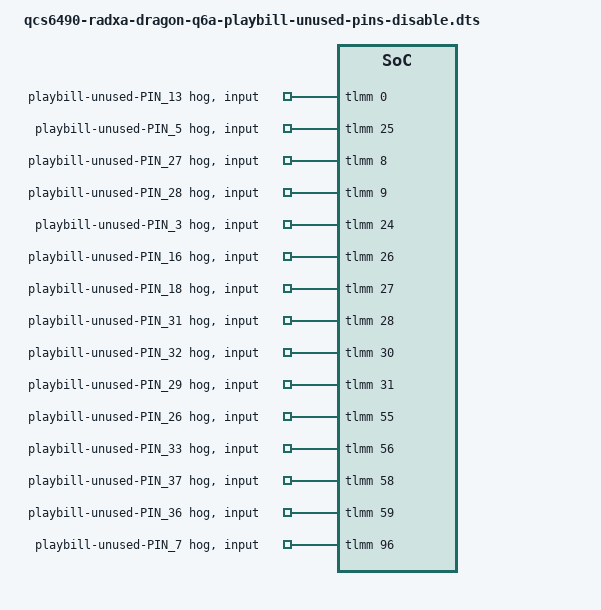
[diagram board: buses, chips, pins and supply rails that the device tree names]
// SPDX-License-Identifier: BSD-3-Clause
//
// Playbill Q6A — disable all 40-pin header GPIOs we don't use.
//
// Defense-in-depth against EMI / floating-pin issues like the one that
// caused the early-boot menu trap on UART RX (gpio23 / header pin 10).
// The Playbill image binds the Waveshare RS485 CAN HAT-B and the QCM6490
// debug UART; everything else on the 40-pin header is unused. Without an
// explicit owner, those unused pins sit in their reset state — typically
// GPIO+input with no bias — which leaves them exposed to capacitive
// coupling from adjacent active lines (the SPI clocks on gpio48-51 switch
// at MHz rates and sit right next to half the unused header pins).
//
// This overlay claims each unused header pin via a `gpio-hog` node:
//   * locks the kernel pinmux so no future driver can rebind these pins
//     to a peripheral function (UART, I2C, SPI, PWM, etc.)
//   * configures each as a GPIO input
//   * gives each a stable kernel-visible line-name for diagnostics
//
// Pins NOT included (deliberately left alone):
//   gpio22 (PIN_8 UART_TX) and gpio23 (PIN_10 UART_RX) — these are the
//   debug UART (ttyMSM0). The kernel keeps them muxed as UART for console
//   I/O. The phantom-input issue on gpio23 is mitigated upstream of the
//   kernel by patching UEFI BootAskValid + ConIn (see
//   files/scripts/playbill-firstboot.sh §1b), so we do not need to
//   wrest these pins from the UART driver.
//
//   HAT-used GPIOs (gpio29, 48, 49, 50, 51, 57, 97, 98, 99, 100) — owned
//   by the MCP2515 / SPI12 / SC16IS752 bindings in the OS DT and the CAN
//   overlay; touching them here would conflict.
//
//   gpio1 (PIN_15) — owned by the playbill-ir-recv overlay (gpio-ir-receiver
//   on the 40-pin header, PIN_15 signal + PIN_1 3V3 + PIN_9 GND).
//
//   gpio24 (PIN_3) — left HOGGED here even though it is unused for I/O, to
//   prevent any future driver from rebinding I2C7_SDA. Do NOT move the IR
//   signal back to gpio24: the pre-kernel firmware probes I2C7 for HAT-EEPROM
//   and hangs the boot if SDA is held by a non-I2C device. (Confirmed
//   empirically 2026-05-13: PIN_3 hung boot.)
//
//   gpio25 (PIN_5) — also left HOGGED here, even though we briefly used it
//   for the IR signal. Empirically the IR was unreliable on PIN_5 (decoder
//   drops frames after a few presses) because the pad's primary alt-function
//   is I2C7_SCL and the muxed-out state interacts badly with bias settings.
//   IR moved to PIN_15 (gpio1) 2026-05-14.
//
// Header→GPIO mapping (from /sys/firmware/devicetree/base/.../gpio-line-names
// at runtime — gpio-line-names property of the tlmm pinctrl node):
//   gpio0  → PIN_13       gpio26 → PIN_16       gpio55 → PIN_26
//   gpio24 → PIN_3        gpio27 → PIN_18       gpio56 → PIN_33
//   gpio8  → PIN_27       gpio28 → PIN_31       gpio58 → PIN_37
//   gpio9  → PIN_28       gpio30 → PIN_32       gpio59 → PIN_36
//   gpio25 → PIN_5        gpio31 → PIN_29       gpio96 → PIN_7
//
// All 15 of those are claimed by gpio-hog entries below.

/dts-v1/;
/plugin/;

/ {
	metadata {
		title = "Disable unused 40-pin header GPIOs (Playbill Q6A)";
		compatible = "radxa,dragon-q6a";
		category = "misc";
		exclusive = "gpio0", "gpio8", "gpio9",
			    "gpio24", "gpio25", "gpio26",
			    "gpio27", "gpio28", "gpio30",
			    "gpio31", "gpio55", "gpio56",
			    "gpio58", "gpio59", "gpio96";
		description = "Lock unused 40-pin header GPIOs as kernel-claimed input pins so no
peripheral driver can rebind them and so they're explicitly owned in
the kernel's pinmux state. Playbill defense-in-depth against
floating-pin EMI issues.";
	};
};

&tlmm {
	playbill-unused-pin13 {
		gpio-hog;
		gpios = <0 0>;
		input;
		line-name = "playbill-unused-PIN_13";
	};

	playbill-unused-pin5 {
		gpio-hog;
		gpios = <25 0>;
		input;
		line-name = "playbill-unused-PIN_5";
	};

	playbill-unused-pin27 {
		gpio-hog;
		gpios = <8 0>;
		input;
		line-name = "playbill-unused-PIN_27";
	};

	playbill-unused-pin28 {
		gpio-hog;
		gpios = <9 0>;
		input;
		line-name = "playbill-unused-PIN_28";
	};

	playbill-unused-pin3 {
		gpio-hog;
		gpios = <24 0>;
		input;
		line-name = "playbill-unused-PIN_3";
	};

	playbill-unused-pin16 {
		gpio-hog;
		gpios = <26 0>;
		input;
		line-name = "playbill-unused-PIN_16";
	};

	playbill-unused-pin18 {
		gpio-hog;
		gpios = <27 0>;
		input;
		line-name = "playbill-unused-PIN_18";
	};

	playbill-unused-pin31 {
		gpio-hog;
		gpios = <28 0>;
		input;
		line-name = "playbill-unused-PIN_31";
	};

	playbill-unused-pin32 {
		gpio-hog;
		gpios = <30 0>;
		input;
		line-name = "playbill-unused-PIN_32";
	};

	playbill-unused-pin29 {
		gpio-hog;
		gpios = <31 0>;
		input;
		line-name = "playbill-unused-PIN_29";
	};

	playbill-unused-pin26 {
		gpio-hog;
		gpios = <55 0>;
		input;
		line-name = "playbill-unused-PIN_26";
	};

	playbill-unused-pin33 {
		gpio-hog;
		gpios = <56 0>;
		input;
		line-name = "playbill-unused-PIN_33";
	};

	playbill-unused-pin37 {
		gpio-hog;
		gpios = <58 0>;
		input;
		line-name = "playbill-unused-PIN_37";
	};

	playbill-unused-pin36 {
		gpio-hog;
		gpios = <59 0>;
		input;
		line-name = "playbill-unused-PIN_36";
	};

	playbill-unused-pin7 {
		gpio-hog;
		gpios = <96 0>;
		input;
		line-name = "playbill-unused-PIN_7";
	};
};
